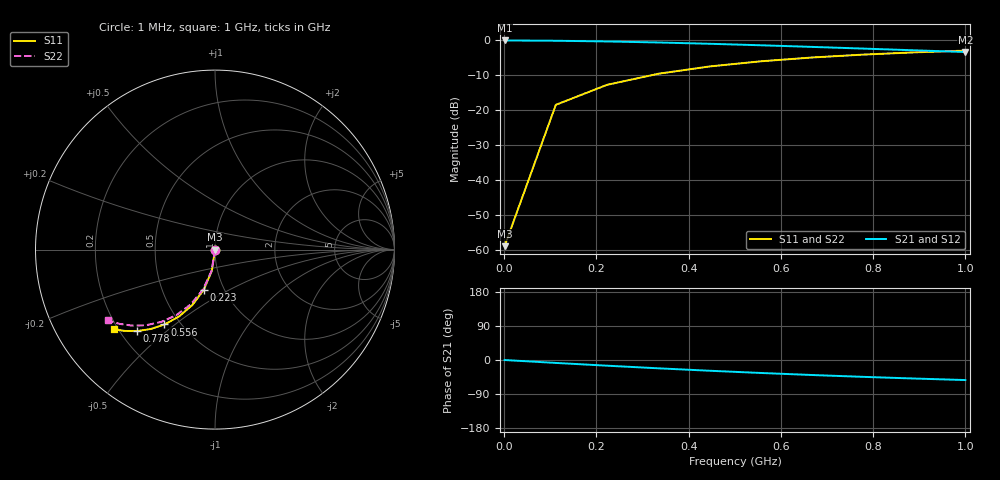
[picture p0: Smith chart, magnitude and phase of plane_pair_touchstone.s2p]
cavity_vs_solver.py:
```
"""Cavity model (pkgtk.oracles.pdn_cavity) vs SIwave siwave_ng on the SAME structure.

The structure is the 100%-synthetic plane pair built from scratch in t1_create.py:
  - planes: two 10 mm x 10 mm rectangles (VDD on TOP, GND on BOT)
  - stackup between the planes (t1): D1 200um FR4 + L3 17um (FR4 fill, no copper)
    + D2 200um FR4 + L2 17um (FR4 fill) + D3 200um FR4  ->  d = 634 um
  - dielectric: FR4_probe, Dk = 4.4, tan_delta = 0.02
  - ports (t5_syz.py): P1 = circuit port at (5mm, 5mm)  [plane center],
                       P2 = circuit port at (1mm, 1mm)  [near corner]

S -> Z conversion: this is a genuine 2-port, so the scalar Z0*(1+S11)/(1-S11)
would give Z at P1 with P2 terminated in 50 ohm. We instead use the full matrix
form  Z = Z0 * (I + S) @ inv(I - S), whose diagonal is the self-impedance with
the OTHER port OPEN -- exactly what the cavity-model Z-matrix diagonal means.

Port-position physics note: P1 at the exact plane center is a null of the
(1,0)/(0,1)/(1,1) cavity modes, so |Z11| shows no peak below the (2,0) mode
(~14.3 GHz). Peak-location comparison therefore uses |Z22| (P2 at 1,1 mm).

Deterministic: no randomness anywhere; inputs are a fixed .s2p + closed-form model.

Usage: python cavity_vs_solver.py [s2p]   (default: plane_pair_touchstone.s2p)
"""

from __future__ import annotations

import sys
import time
from pathlib import Path

import numpy as np

from pkgtk.models.ts_gate import gate, parse_touchstone
from pkgtk.oracles.pdn_cavity import (
    Cavity,
    Port,
    capacitance,
    find_resonance_peaks,
    resonance_frequencies,
    z_matrix,
)

# --- the SAME structure as t1_create.py, analytically -------------------------
A = 10e-3               # plane x-size (m)      -- t1 create_rectangle 0..10mm
B = 10e-3               # plane y-size (m)
D = (200 + 17 + 200 + 17 + 200) * 1e-6  # TOP->BOT dielectric span (m) = 634 um
EPS_R = 4.4             # FR4_probe Dk          -- t1 add_dielectric_material
TAND = 0.02             # FR4_probe loss tangent
PORTS = [Port(5e-3, 5e-3), Port(1e-3, 1e-3)]   # P1, P2 -- t5_syz.py


def s_to_z(s: np.ndarray, z0: float) -> np.ndarray:
    """Touchstone S [F,N,N] -> Z [F,N,N] via Z = z0 (I+S)(I-S)^-1."""
    n = s.shape[-1]
    eye = np.eye(n)
    return np.array([z0 * ((eye + sf) @ np.linalg.inv(eye - sf)) for sf in s])


def main() -> int:
    t0 = time.perf_counter()
    here = Path(__file__).parent
    s2p = Path(sys.argv[1]) if len(sys.argv) > 1 else here / "plane_pair_touchstone.s2p"

    cav = Cavity(a=A, b=B, d=D, epsilon_r=EPS_R, tan_delta=TAND)
    print(f"structure : {A*1e3:.0f}x{B*1e3:.0f} mm plane pair, d={D*1e6:.0f} um, "
          f"Dk={EPS_R}, tan_delta={TAND}")
    print(f"static C  : {capacitance(cav)*1e12:.3f} pF  "
          f"(analytic eps0*epsr*a*b/d)")
    fres = resonance_frequencies(cav, max_m=2, max_n=2)
    shown = {k: fres[k] for k in ("1_0", "0_1", "1_1", "2_0")}
    print("analytic modes:",
          "  ".join(f"f{k.replace('_', '')}={v/1e9:.3f}GHz" for k, v in shown.items()))
    print(f"touchstone: {s2p}")
    print()

    # --- solver side ----------------------------------------------------------
    freqs, s, z0, n = parse_touchstone(s2p)
    zs = s_to_z(s, z0)                       # [F,2,2] solver Z-matrix
    # --- cavity side, exact same frequency grid ------------------------------
    zc = z_matrix(freqs, cav, PORTS)         # [F,2,2] analytic Z-matrix

    # --- table: |Z11| at ~6 sample points ------------------------------------
    idx = np.unique(np.linspace(0, len(freqs) - 1, 6).round().astype(int))
    print(f"{'freq':>12} {'|Z11| cavity':>14} {'|Z11| siwave':>14} {'delta%':>8}")
    for i in idx:
        zc11, zs11 = abs(zc[i, 0, 0]), abs(zs[i, 0, 0])
        dpc = 100.0 * (zc11 - zs11) / zs11
        print(f"{freqs[i]/1e6:>9.1f} MHz {zc11:>12.3f} ohm {zs11:>12.3f} ohm "
              f"{dpc:>+7.2f}%")

    # low-frequency agreement: all points at or below 500 MHz
    lf = freqs <= 500e6
    d = 100.0 * np.abs(np.abs(zc[lf, 0, 0]) - np.abs(zs[lf, 0, 0])) \
        / np.abs(zs[lf, 0, 0])
    print(f"\nlow-freq (<=500 MHz, {int(lf.sum())} pts) |Z11| agreement: "
          f"{100.0 - d.mean():.2f}%  (mean delta {d.mean():.2f}%, "
          f"worst {d.max():.2f}%)")

    # The systematic offset is fringing capacitance: the cavity model's
    # magnetic-wall boundary (docs/pdn-spec.md documented omission) has none.
    # Palmer's fringing formula for a square parallel plate explains it:
    #   C = C_pp * [1 + d/(pi*a) * (1 + ln(2*pi*a/d))]^2
    c_pp = capacitance(cav)
    c_solver = 1.0 / (2 * np.pi * freqs[0] * abs(zs[0, 0, 0]))
    palmer = (1.0 + D / (np.pi * A) * (1.0 + np.log(2 * np.pi * A / D))) ** 2
    c_palmer = c_pp * palmer
    print(f"why: fringing. C_pp={c_pp*1e12:.3f} pF (magnetic-wall cavity)  "
          f"C_solver={c_solver*1e12:.3f} pF (from |Z11| @ {freqs[0]/1e6:.0f} MHz)  "
          f"C_palmer={c_palmer*1e12:.3f} pF")
    print(f"     Palmer fringing-corrected residual vs solver: "
          f"{100.0*abs(c_palmer - c_solver)/c_solver:.2f}%")
    # fringing-normalized: scale cavity |Z| by C_pp/C_palmer in the capacitive
    # region (Z ~ 1/C) and re-measure the low-freq delta -- clearly labeled.
    d_corr = 100.0 * np.abs(np.abs(zc[lf, 0, 0]) / palmer
                            - np.abs(zs[lf, 0, 0])) / np.abs(zs[lf, 0, 0])
    print(f"     low-freq agreement after Palmer correction: "
          f"{100.0 - d_corr.mean():.2f}%  (mean delta {d_corr.mean():.2f}%, "
          f"worst {d_corr.max():.2f}%)")

    # --- peak-location comparison (only meaningful if sweep reaches modes) ---
    if freqs[-1] > 2e9:
        print("\npeak-location comparison on |Z22| (P2 at 1,1 mm sees the modes):")
        pk_s = find_resonance_peaks(freqs, zs[:, 1, 1])
        dense = np.linspace(freqs[0], freqs[-1], 4001)
        pk_c = find_resonance_peaks(dense, z_matrix(dense, cav, PORTS)[:, 1, 1])
        print(f"  cavity peaks : {[f'{f/1e9:.3f} GHz' for f in pk_c]}")
        print(f"  siwave peaks : {[f'{f/1e9:.3f} GHz' for f in pk_s]}")
        for fs_ in pk_s:
            if len(pk_c):
                fc_ = pk_c[np.argmin(np.abs(pk_c - fs_))]
                print(f"  siwave {fs_/1e9:.3f} GHz vs cavity {fc_/1e9:.3f} GHz "
                      f"-> delta {100.0*abs(fs_-fc_)/fc_:.2f}%")
    else:
        print("\n(sweep tops out at "
              f"{freqs[-1]/1e9:.1f} GHz -- below first excitable mode; "
              "peak comparison needs the extended sweep)")

    # --- pkgtk physics gate on the solver output -----------------------------
    print("\npkgtk ts_gate on solver touchstone:")
    g = gate(s2p)
    print(f"  decision    : {g['decision']}")
    print(f"  passivity   : sigma_max={g['passivity']['sigma_max']} "
          f"band={g['passivity']['band']} "
          f"(worst @ {g['passivity']['worst_freq_hz']/1e6:.1f} MHz)")
    print(f"  reciprocity : max |S - S^T| = {g['reciprocity']['max_asymmetry']}")
    print(f"  sanity      : {g['sanity']}")
    print(f"  violations  : {len(g['violations'])}")

    print(f"\nWALL cavity_vs_solver: {time.perf_counter() - t0:.2f}s")
    return 0


if __name__ == "__main__":
    raise SystemExit(main())
```
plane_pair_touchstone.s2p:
! Touchstone file exported from Ansys Full-Wave Spice
! Project: 0000
!  Design: unknown
! Creation time: Tue Jul 21 00:16:52 2026
! Notes: Touchstone(R) file created by SIwave 2026 R1
!  : Touchstone(R) file created on Tue Jul 21 00:16:52 2026
!  : Design: Cell_SRDGHW
!  : Path:
!  : *** SIwave SYZ Simulation Settings ***
!  : SI/PI Main
!  :  SI Simulation -  Balanced
!  : SI/PI Advanced
!  :  Coupling
!  :  Coplane: On
!  :  Intra-plane: Off
!  :  Split-plane: On
!  :  Cavity field: On
!  :  Trace: On
!  :  Cross-talk threshold: -34dB
!  :  Max. coupled lines: 12
!  :  Geometry Processing
!  :  Void area threshold: 2mm^2
!  :  Pad area threshold: 1mm^2
!  :  Planes area threshold: 6.25E-06mm^2
!  :  Vertex snap distance threshold: 0.0025mm
!  :  Mesh Refinement
!  :  Auto
!  :  AC/DC Merge
!  :  Default
!  :  Trace return current distribution: Off
!  :  Include voltage/current source parasitics: No
!  :  Add infinite ground plane: No
!  :  Exclude non-functional pads: Yes
!  : Temperature
!  :  Uniform distribution: 20cel
!  : Net Processing
!  :  Auto select nets
!  : S-parameter Modeling
!  :  State Space Model
!  : Sweep
!  :  Name: frequency_sweep
!  :  AC/DC Merge: Off
!  :  Interpolating Sweep
!  :  Relative error for S: 0.005
!  :  Frequency Point Distribution:
!  :  Linear: 1E+06Hz -> 1E+09Hz 10 pts
!  :  Enforce Causality: No
!  :  Enforce Passivity: Yes
!  :  Q3D Regions: Off
!  :  HFSS Regions: Off
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# HZ S RI R 50
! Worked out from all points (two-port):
!   10 points, 1 MHz to 1 GHz, reference 50 ohm
!   highest |S21| = 0.00 dB at 1 MHz (marker M1); lowest = -3.3 dB at 1 GHz (marker M2)
!   |S21| within 3 dB of the highest: start of sweep to 930.9 MHz
!   lowest |S11| = -58.8 dB at 1 MHz (marker M3), VSWR 1.00, Z = 50 - j0.115 ohm
!   |S11| at or under -10 dB: start of sweep to 317.3 MHz
!   |S22| runs from -58.8 to -2.9 dB; largest |S21 - S12| = 0
!   S11 on the Smith chart (normalised r, x): 1 MHz: 1.00, -0.00; 223 MHz: 0.80, -0.38; 556 MHz: 0.41, -0.46; 778 MHz: 0.27, -0.40; 1 GHz: 0.19, -0.34
1000000  -8.98e-06 -0.00115  1 -0.00128  1 -0.00128  -9.08e-06 -0.00115
1.12e8  -0.0179 -0.119  0.9813 -0.1329  0.9813 -0.1329  -0.019 -0.1188
2.23e8  -0.0624 -0.2235  0.9348 -0.2508  0.9348 -0.2508  -0.0667 -0.2222
3.34e8  -0.1265 -0.3092  0.868 -0.3491  0.868 -0.3491  -0.1352 -0.3054
4.45e8  -0.2019 -0.3736  0.7892 -0.4253  0.7892 -0.4253  -0.2159 -0.3656
5.56e8  -0.2815 -0.4173  0.7059 -0.4799  0.7059 -0.4799  -0.301 -0.4033
6.67e8  -0.3599 -0.4428  0.6238 -0.5157  0.6238 -0.5157  -0.3845 -0.4214
7.78e8  -0.4336 -0.4537  0.5464 -0.5362  0.5464 -0.5362  -0.4629 -0.4236
8.89e8  -0.5009 -0.4533  0.4756 -0.5449  0.4756 -0.5449  -0.534 -0.4135
1e9  -0.561 -0.4447  0.4121 -0.5451  0.4121 -0.5451  -0.5971 -0.3944
